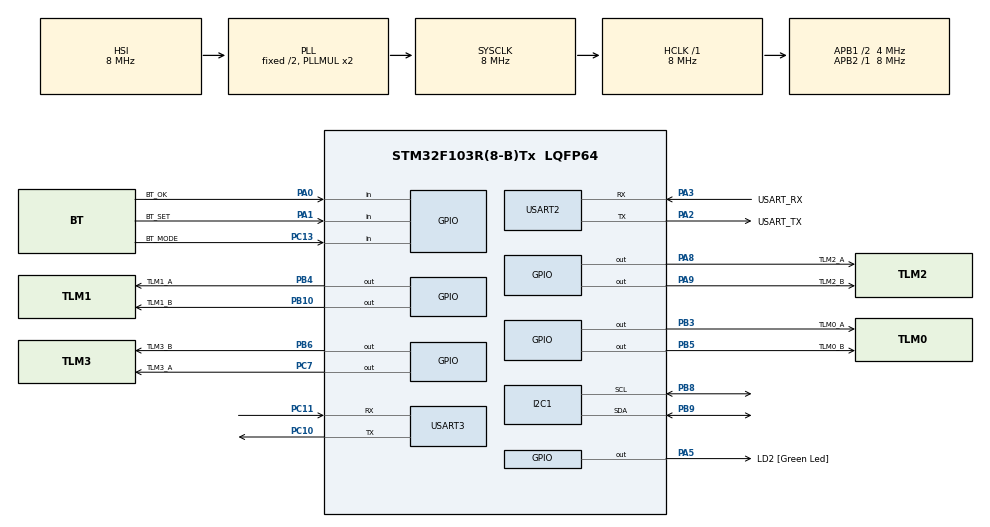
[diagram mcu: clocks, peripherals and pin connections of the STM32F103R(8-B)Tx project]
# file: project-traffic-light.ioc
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Mcu.Family=STM32F1
Mcu.Name=STM32F103R(8-B)Tx
Mcu.Package=LQFP64
NVIC.I2C1_ER_IRQn=true\:0\:0\:false\:false\:true\:true\:true
NVIC.I2C1_EV_IRQn=true\:0\:0\:false\:false\:true\:true\:true
NVIC.PriorityGroup=NVIC_PRIORITYGROUP_4
NVIC.TIM2_IRQn=true\:0\:0\:false\:false\:true\:true\:true
NVIC.USART2_IRQn=true\:0\:0\:false\:false\:true\:true\:true
NVIC.USART3_IRQn=true\:0\:0\:false\:false\:true\:true\:true
PA0-WKUP.GPIO_Label=BT_OK
PA0-WKUP.GPIO_PuPd=GPIO_PULLUP
PA0-WKUP.Signal=GPIO_Input
PA1.GPIO_Label=BT_SET
PA1.GPIO_PuPd=GPIO_PULLUP
PA1.Signal=GPIO_Input
PA13.GPIO_Label=TMS
PA13.Mode=Serial_Wire
PA13.Signal=SYS_JTMS-SWDIO
PA14.GPIO_Label=TCK
PA14.Mode=Serial_Wire
PA14.Signal=SYS_JTCK-SWCLK
PA2.GPIO_Label=USART_TX
PA2.GPIO_Mode=GPIO_MODE_AF_PP
PA2.GPIO_PuPd=GPIO_NOPULL
PA2.GPIO_Speed=GPIO_SPEED_FREQ_LOW
PA2.Mode=Asynchronous
PA2.Signal=USART2_TX
PA3.GPIO_Label=USART_RX
PA3.GPIO_Mode=GPIO_MODE_AF_PP
PA3.GPIO_PuPd=GPIO_NOPULL
PA3.GPIO_Speed=GPIO_SPEED_FREQ_LOW
PA3.Mode=Asynchronous
PA3.Signal=USART2_RX
PA5.GPIO_Label=LD2 [Green Led]
PA5.GPIO_ModeDefaultOutputPP=GPIO_MODE_OUTPUT_PP
PA5.GPIO_PuPd=GPIO_NOPULL
PA5.GPIO_Speed=GPIO_SPEED_FREQ_LOW
PA5.Signal=GPIO_Output
PA8.GPIO_Label=TLM2_A
PA8.Signal=GPIO_Output
PA9.GPIO_Label=TLM2_B
PA9.Signal=GPIO_Output
PB10.GPIO_Label=TLM1_B
PB10.Signal=GPIO_Output
PB3.GPIO_Label=TLM0_A
PB3.Signal=GPIO_Output
PB4.GPIO_Label=TLM1_A
PB4.Signal=GPIO_Output
PB5.GPIO_Label=TLM0_B
PB5.Signal=GPIO_Output
PB6.GPIO_Label=TLM3_B
PB6.Signal=GPIO_Output
PB8.Mode=I2C
PB8.Signal=I2C1_SCL
PB9.Mode=I2C
PB9.Signal=I2C1_SDA
PC10.Mode=Asynchronous
PC10.Signal=USART3_TX
PC11.Mode=Asynchronous
PC11.Signal=USART3_RX
PC13-TAMPER-RTC.GPIO_Label=BT_MODE
PC13-TAMPER-RTC.GPIO_PuPd=GPIO_PULLUP
PC13-TAMPER-RTC.Signal=GPIO_Input
PC14-OSC32_IN.Mode=LSE-External-Oscillator
PC14-OSC32_IN.Signal=RCC_OSC32_IN
PC15-OSC32_OUT.Mode=LSE-External-Oscillator
PC15-OSC32_OUT.Signal=RCC_OSC32_OUT
PC7.GPIO_Label=TLM3_A
PC7.Signal=GPIO_Output
PD0-OSC_IN.Mode=HSE-External-Clock-Source
PD0-OSC_IN.Signal=RCC_OSC_IN
PD1-OSC_OUT.Mode=HSE-External-Clock-Source
PD1-OSC_OUT.Signal=RCC_OSC_OUT
ProjectManager.HeapSize=0x200
ProjectManager.StackSize=0x400
ProjectManager.TargetToolchain=STM32CubeIDE
RCC.AHBFreq_Value=8000000
RCC.APB1CLKDivider=RCC_HCLK_DIV2
RCC.APB1Freq_Value=4000000
RCC.APB1TimFreq_Value=8000000
RCC.APB2Freq_Value=8000000
RCC.APB2TimFreq_Value=8000000
RCC.HCLKFreq_Value=8000000
RCC.RTCClockSelection=RCC_RTCCLKSOURCE_LSE
RCC.SYSCLKFreq_VALUE=8000000
RCC.SYSCLKSource=RCC_SYSCLKSOURCE_PLLCLK
RCC.USBFreq_Value=8000000
TIM2.Period=9
TIM2.Prescaler=7999
USART2.VirtualMode=VM_ASYNC
USART3.VirtualMode=VM_ASYNC
VP_TIM2_VS_ClockSourceINT.Mode=Internal
board=NUCLEO-F103RB

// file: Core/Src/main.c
/* USER CODE BEGIN Header */
/**
  ******************************************************************************
  * @file           : main.c
  * @brief          : Main program body
  ******************************************************************************
  * @attention
  *
  * <h2><center>&copy; Copyright (c) 2024 STMicroelectronics.
  * All rights reserved.</center></h2>
  *
  * This software component is licensed by ST under BSD 3-Clause license,
  * the "License"; You may not use this file except in compliance with the
  * License. You may obtain a copy of the License at:
  *                        opensource.org/licenses/BSD-3-Clause
  *
  ******************************************************************************
  */
/* USER CODE END Header */
#include "main.h"

/* USER CODE BEGIN Includes */
#include "i2c-lcd.h"
#include "stdio.h"
#include "string.h"
#include "button.h"
#include "software_timer.h"
#include "traffic_light_fsm_auto.h"
#include "traffic_light_fsm_sel.h"
#include "traffic_light_fsm_man.h"
#include "traffic_light_fsm_set.h"
/* USER CODE END Includes */

I2C_HandleTypeDef hi2c1;

TIM_HandleTypeDef htim2;

UART_HandleTypeDef huart2;
UART_HandleTypeDef huart3;

void SystemClock_Config(void);
static void MX_GPIO_Init(void);
static void MX_USART2_UART_Init(void);
static void MX_I2C1_Init(void);
static void MX_TIM2_Init(void);
static void MX_USART3_UART_Init(void);

int main(void)
{

  /* MCU Configuration--------------------------------------------------------*/

  /* Reset of all peripherals, Initializes the Flash interface and the Systick. */
  HAL_Init();

  /* Configure the system clock */
  SystemClock_Config();

  /* Initialize all configured peripherals */
  MX_GPIO_Init();
  MX_USART2_UART_Init();
  MX_I2C1_Init();
  MX_TIM2_Init();
  MX_USART3_UART_Init();
  /* USER CODE BEGIN 2 */
  HAL_TIM_Base_Start_IT (&htim2 );
  /* USER CODE END 2 */

  /* Infinite loop */
  /* USER CODE BEGIN WHILE */
  setup();
  while (1)
  {
	  traffic_light_fsm_auto();
	  traffic_light_fsm_man();
	  traffic_light_fsm_sel();
	  traffic_light_fsm_set();
    /* USER CODE END WHILE */

  }
}

void SystemClock_Config(void)
{
  RCC_OscInitTypeDef RCC_OscInitStruct = {0};
  RCC_ClkInitTypeDef RCC_ClkInitStruct = {0};

  /** Initializes the RCC Oscillators according to the specified parameters
  * in the RCC_OscInitTypeDef structure.
  */
  RCC_OscInitStruct.OscillatorType = RCC_OSCILLATORTYPE_HSI;
  RCC_OscInitStruct.HSIState = RCC_HSI_ON;
  RCC_OscInitStruct.HSICalibrationValue = RCC_HSICALIBRATION_DEFAULT;
  RCC_OscInitStruct.PLL.PLLState = RCC_PLL_ON;
  RCC_OscInitStruct.PLL.PLLSource = RCC_PLLSOURCE_HSI_DIV2;
  RCC_OscInitStruct.PLL.PLLMUL = RCC_PLL_MUL2;
  if (HAL_RCC_OscConfig(&RCC_OscInitStruct) != HAL_OK)
  {
    Error_Handler();
  }
  /** Initializes the CPU, AHB and APB buses clocks
  */
  RCC_ClkInitStruct.ClockType = RCC_CLOCKTYPE_HCLK|RCC_CLOCKTYPE_SYSCLK
                              |RCC_CLOCKTYPE_PCLK1|RCC_CLOCKTYPE_PCLK2;
  RCC_ClkInitStruct.SYSCLKSource = RCC_SYSCLKSOURCE_PLLCLK;
  RCC_ClkInitStruct.AHBCLKDivider = RCC_SYSCLK_DIV1;
  RCC_ClkInitStruct.APB1CLKDivider = RCC_HCLK_DIV2;
  RCC_ClkInitStruct.APB2CLKDivider = RCC_HCLK_DIV1;

  if (HAL_RCC_ClockConfig(&RCC_ClkInitStruct, FLASH_LATENCY_0) != HAL_OK)
  {
    Error_Handler();
  }
}

static void MX_I2C1_Init(void)
{

  hi2c1.Instance = I2C1;
  hi2c1.Init.ClockSpeed = 100000;
  hi2c1.Init.DutyCycle = I2C_DUTYCYCLE_2;
  hi2c1.Init.OwnAddress1 = 0;
  hi2c1.Init.AddressingMode = I2C_ADDRESSINGMODE_7BIT;
  hi2c1.Init.DualAddressMode = I2C_DUALADDRESS_DISABLE;
  hi2c1.Init.OwnAddress2 = 0;
  hi2c1.Init.GeneralCallMode = I2C_GENERALCALL_DISABLE;
  hi2c1.Init.NoStretchMode = I2C_NOSTRETCH_DISABLE;
  if (HAL_I2C_Init(&hi2c1) != HAL_OK)
  {
    Error_Handler();
  }

}

static void MX_TIM2_Init(void)
{

  TIM_ClockConfigTypeDef sClockSourceConfig = {0};
  TIM_MasterConfigTypeDef sMasterConfig = {0};

  htim2.Instance = TIM2;
  htim2.Init.Prescaler = 7999;
  htim2.Init.CounterMode = TIM_COUNTERMODE_UP;
  htim2.Init.Period = 9;
  htim2.Init.ClockDivision = TIM_CLOCKDIVISION_DIV1;
  htim2.Init.AutoReloadPreload = TIM_AUTORELOAD_PRELOAD_DISABLE;
  if (HAL_TIM_Base_Init(&htim2) != HAL_OK)
  {
    Error_Handler();
  }
  sClockSourceConfig.ClockSource = TIM_CLOCKSOURCE_INTERNAL;
  if (HAL_TIM_ConfigClockSource(&htim2, &sClockSourceConfig) != HAL_OK)
  {
    Error_Handler();
  }
  sMasterConfig.MasterOutputTrigger = TIM_TRGO_RESET;
  sMasterConfig.MasterSlaveMode = TIM_MASTERSLAVEMODE_DISABLE;
  if (HAL_TIMEx_MasterConfigSynchronization(&htim2, &sMasterConfig) != HAL_OK)
  {
    Error_Handler();
  }

}

static void MX_USART2_UART_Init(void)
{

  huart2.Instance = USART2;
  huart2.Init.BaudRate = 115200;
  huart2.Init.WordLength = UART_WORDLENGTH_8B;
  huart2.Init.StopBits = UART_STOPBITS_1;
  huart2.Init.Parity = UART_PARITY_NONE;
  huart2.Init.Mode = UART_MODE_TX_RX;
  huart2.Init.HwFlowCtl = UART_HWCONTROL_NONE;
  huart2.Init.OverSampling = UART_OVERSAMPLING_16;
  if (HAL_UART_Init(&huart2) != HAL_OK)
  {
    Error_Handler();
  }

}

static void MX_USART3_UART_Init(void)
{

  huart3.Instance = USART3;
  huart3.Init.BaudRate = 115200;
  huart3.Init.WordLength = UART_WORDLENGTH_8B;
  huart3.Init.StopBits = UART_STOPBITS_1;
  huart3.Init.Parity = UART_PARITY_NONE;
  huart3.Init.Mode = UART_MODE_TX_RX;
  huart3.Init.HwFlowCtl = UART_HWCONTROL_NONE;
  huart3.Init.OverSampling = UART_OVERSAMPLING_16;
  if (HAL_UART_Init(&huart3) != HAL_OK)
  {
    Error_Handler();
  }

}

static void MX_GPIO_Init(void)
{
  GPIO_InitTypeDef GPIO_InitStruct = {0};

  /* GPIO Ports Clock Enable */
  __HAL_RCC_GPIOC_CLK_ENABLE();
  __HAL_RCC_GPIOD_CLK_ENABLE();
  __HAL_RCC_GPIOA_CLK_ENABLE();
  __HAL_RCC_GPIOB_CLK_ENABLE();

  /*Configure GPIO pin Output Level */
  HAL_GPIO_WritePin(GPIOA, LD2_Pin|TLM2_A_Pin|TLM2_B_Pin, GPIO_PIN_RESET);

  /*Configure GPIO pin Output Level */
  HAL_GPIO_WritePin(GPIOB, TLM1_B_Pin|TLM0_A_Pin|TLM1_A_Pin|TLM0_B_Pin
                          |TLM3_B_Pin, GPIO_PIN_RESET);

  /*Configure GPIO pin Output Level */
  HAL_GPIO_WritePin(TLM3_A_GPIO_Port, TLM3_A_Pin, GPIO_PIN_RESET);

  /*Configure GPIO pin : BT_MODE_Pin */
  GPIO_InitStruct.Pin = BT_MODE_Pin;
  GPIO_InitStruct.Mode = GPIO_MODE_INPUT;
  GPIO_InitStruct.Pull = GPIO_PULLUP;
  HAL_GPIO_Init(BT_MODE_GPIO_Port, &GPIO_InitStruct);

  /*Configure GPIO pins : BT_OK_Pin BT_SET_Pin */
  GPIO_InitStruct.Pin = BT_OK_Pin|BT_SET_Pin;
  GPIO_InitStruct.Mode = GPIO_MODE_INPUT;
  GPIO_InitStruct.Pull = GPIO_PULLUP;
  HAL_GPIO_Init(GPIOA, &GPIO_InitStruct);

  /*Configure GPIO pins : LD2_Pin TLM2_A_Pin TLM2_B_Pin */
  GPIO_InitStruct.Pin = LD2_Pin|TLM2_A_Pin|TLM2_B_Pin;
  GPIO_InitStruct.Mode = GPIO_MODE_OUTPUT_PP;
  GPIO_InitStruct.Pull = GPIO_NOPULL;
  GPIO_InitStruct.Speed = GPIO_SPEED_FREQ_LOW;
  HAL_GPIO_Init(GPIOA, &GPIO_InitStruct);

  /*Configure GPIO pins : TLM1_B_Pin TLM0_A_Pin TLM1_A_Pin TLM0_B_Pin
                           TLM3_B_Pin */
  GPIO_InitStruct.Pin = TLM1_B_Pin|TLM0_A_Pin|TLM1_A_Pin|TLM0_B_Pin
                          |TLM3_B_Pin;
  GPIO_InitStruct.Mode = GPIO_MODE_OUTPUT_PP;
  GPIO_InitStruct.Pull = GPIO_NOPULL;
  GPIO_InitStruct.Speed = GPIO_SPEED_FREQ_LOW;
  HAL_GPIO_Init(GPIOB, &GPIO_InitStruct);

  /*Configure GPIO pin : TLM3_A_Pin */
  GPIO_InitStruct.Pin = TLM3_A_Pin;
  GPIO_InitStruct.Mode = GPIO_MODE_OUTPUT_PP;
  GPIO_InitStruct.Pull = GPIO_NOPULL;
  GPIO_InitStruct.Speed = GPIO_SPEED_FREQ_LOW;
  HAL_GPIO_Init(TLM3_A_GPIO_Port, &GPIO_InitStruct);

}

/* USER CODE BEGIN 4 */
void HAL_TIM_PeriodElapsedCallback ( TIM_HandleTypeDef * htim ){
	timerRun();
	buttonRun();
}
/* USER CODE END 4 */

void Error_Handler(void)
{
  __disable_irq();
  while (1)
  {
  }
}

/************************ (C) COPYRIGHT STMicroelectronics *****END OF FILE****/
